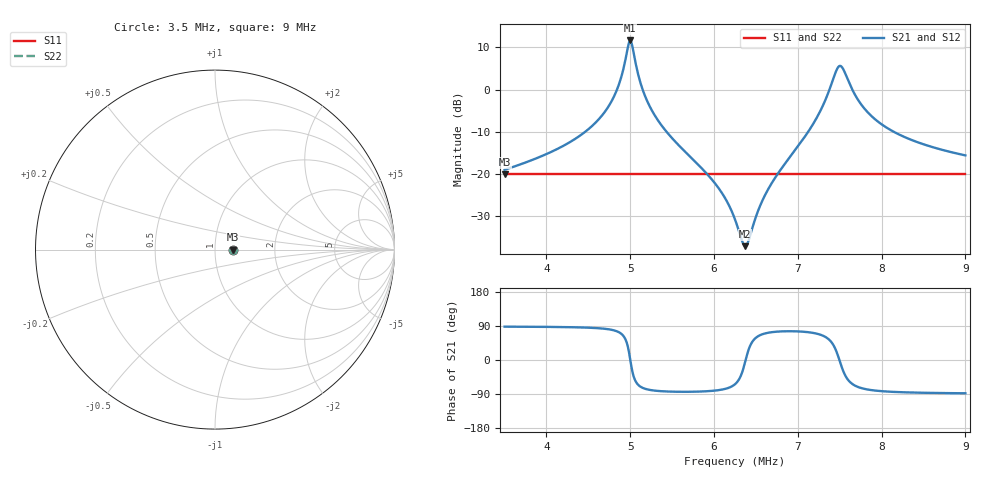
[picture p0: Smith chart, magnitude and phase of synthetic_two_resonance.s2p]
! SYNTHETIC two-resonance two-port generated by HCC test/data generator
! NOT a measurement. No calibration. Units MHz, S parameters, magnitude-angle, R 50
# MHZ S MA R 50
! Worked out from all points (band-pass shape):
!   401 points, 3.5 MHz to 9 MHz, reference 50 ohm
!   highest |S21| = 11.64 dB at 4.999 MHz (marker M1); lowest = -37.0 dB at 6.374 MHz (marker M2)
!   |S21| within 3 dB of the highest: 4.958 MHz to 5.041 MHz (83.14 kHz wide, 1.66 % of centre)
!   lowest |S11| = -20.0 dB at 3.5 MHz (marker M3), VSWR 1.22, Z = 61.1 + j0 ohm
!   |S11| at or under -10 dB: start of sweep to end of sweep
!   |S22| runs from -20.0 to -20.0 dB; largest |S21 - S12| = 0
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3.5  0.1 0.0  0.1127 88.0  0.1127 88.0  0.1 0.0
4.42125  0.1 0.0  0.2958 85.9  0.2958 85.9  0.1 0.0
4.72375  0.1 0.0  0.5975 81.6  0.5975 81.6  0.1 0.0
4.875  0.1 0.0  1.239 71.9  1.239 71.9  0.1 0.0
4.91625  0.1 0.0  1.732 64.0  1.732 64.0  0.1 0.0
4.9575  0.1 0.0  2.7 46.0  2.7 46.0  0.1 0.0
4.99875  0.1 0.0  3.821 2.2  3.821 2.2  0.1 0.0
5.02625  0.1 0.0  3.215 -31.7  3.215 -31.7  0.1 0.0
5.05375  0.1 0.0  2.313 -51.6  2.313 -51.6  0.1 0.0
5.08125  0.1 0.0  1.711 -62.2  1.711 -62.2  0.1 0.0
5.13625  0.1 0.0  1.081 -72.3  1.081 -72.3  0.1 0.0
5.3425  0.1 0.0  0.4162 -81.9  0.4162 -81.9  0.1 0.0
6.25  0.1 0.0  0.02911 -63.9  0.02911 -63.9  0.1 0.0
6.37375  0.1 0.0  0.01405 -2.7  0.01405 -2.7  0.1 0.0
7.17125  0.1 0.0  0.3763 71.9  0.3763 71.9  0.1 0.0
7.3225  0.1 0.0  0.7299 61.7  0.7299 61.7  0.1 0.0
7.41875  0.1 0.0  1.308 41.4  1.308 41.4  0.1 0.0
7.50125  0.1 0.0  1.914 -3.5  1.914 -3.5  0.1 0.0
7.57  0.1 0.0  1.519 -42.5  1.519 -42.5  0.1 0.0
7.68  0.1 0.0  0.8782 -67.4  0.8782 -67.4  0.1 0.0
8.0925  0.1 0.0  0.3393 -83.6  0.3393 -83.6  0.1 0.0
9  0.1 0.0  0.1667 -87.8  0.1667 -87.8  0.1 0.0
